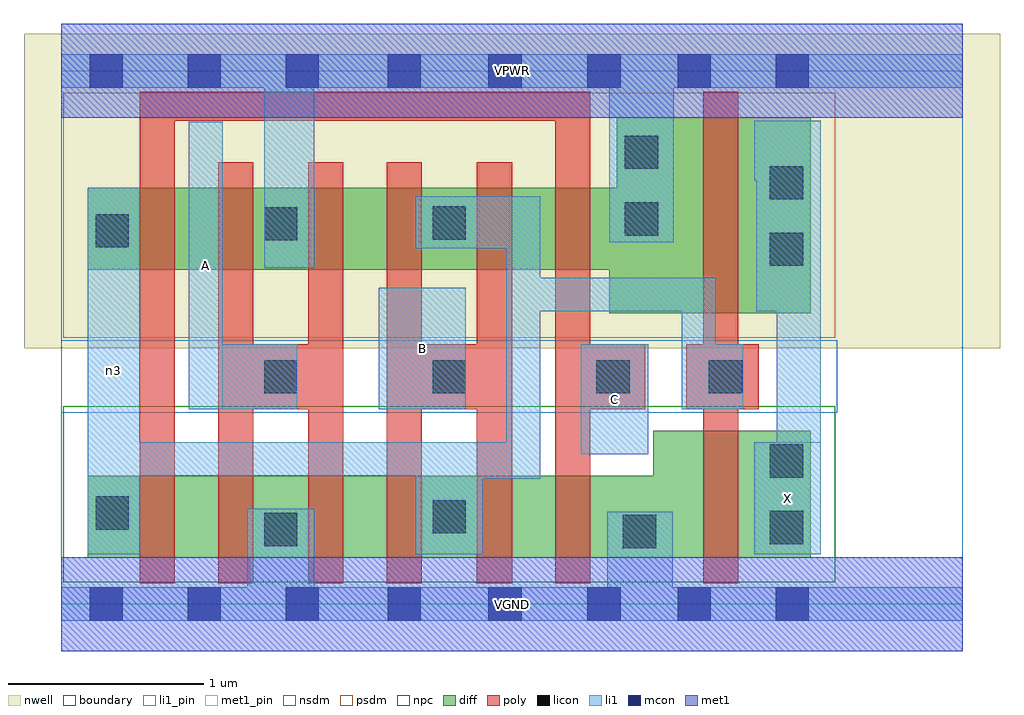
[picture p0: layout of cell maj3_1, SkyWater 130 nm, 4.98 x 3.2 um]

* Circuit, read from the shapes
.subckt maj3_1 A B C VGND VPWR X n3
XM1 n1 C n3 VSUBS sky130_fd_pr__nfet_01v8 w=0.42 l=0.18
XM2 VGND A n1 VSUBS sky130_fd_pr__nfet_01v8 w=0.42 l=0.18
XM3 n2 A VGND VSUBS sky130_fd_pr__nfet_01v8 w=0.42 l=0.18
XM4 n3 B n2 VSUBS sky130_fd_pr__nfet_01v8 w=0.42 l=0.18
XM5 n4 B n3 VSUBS sky130_fd_pr__nfet_01v8 w=0.42 l=0.18
XM6 VGND C n4 VSUBS sky130_fd_pr__nfet_01v8 w=0.42 l=0.18
XM7 X n3 VGND VSUBS sky130_fd_pr__nfet_01v8 w=0.65 l=0.18
XM8 n5 C n3 n6 sky130_fd_pr__pfet_01v8 w=0.42 l=0.18
XM9 VPWR A n5 n6 sky130_fd_pr__pfet_01v8 w=0.42 l=0.18
XM10 n7 A VPWR n6 sky130_fd_pr__pfet_01v8 w=0.42 l=0.18
XM11 n3 B n7 n6 sky130_fd_pr__pfet_01v8 w=0.42 l=0.18
XM12 n8 B n3 n6 sky130_fd_pr__pfet_01v8 w=0.42 l=0.18
XM13 VPWR C n8 n6 sky130_fd_pr__pfet_01v8 w=0.42 l=0.18
XM14 X n3 VPWR n6 sky130_fd_pr__pfet_01v8 w=1 l=0.18
.ends

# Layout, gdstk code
import gdstk
lib = gdstk.Library(unit=1e-6, precision=1e-09)
def R(c, l, rs):  # rectangles x0, y0, x1, y1
    for r in rs: c.add(gdstk.rectangle(r[:2], r[2:], *l))
def A(c, l, x, y, w, h, nx, ny, dx, dy):  # array of equal rectangles
    R(c, l, [(x+i*dx, y+j*dy, x+i*dx+w, y+j*dy+h) for i in range(nx) for j in range(ny)])
nwell = (64, 20)
diff = (65, 20)
poly = (66, 20)
licon = (66, 44)
li1_pin = (67, 16)
li1 = (67, 20)
mcon = (67, 44)
met1_pin = (68, 16)
met1 = (68, 20)
nsdm = (93, 44)
psdm = (94, 20)
npc = (95, 20)
boundary = (235, 4)

maj3_1 = lib.new_cell('maj3_1')
R(maj3_1, nwell, [(-0.19,1.305,4.79,2.91), (0,1.305,4.6,2.91)])
R(maj3_1, diff, [(0.135,0.235,3.825,0.655), (3.02,0.235,3.825,0.885), (2.795,1.485,3.825,2.125), (2.835,1.485,3.825,2.485), (0.135,1.705,3.825,2.125)])
R(maj3_1, poly, [(0.4,0.105,0.58,2.615), (0.8,0.105,0.98,2.255), (1.26,0.105,1.44,2.255), (1.66,0.105,1.84,2.255), (2.12,0.105,2.3,2.255), (2.52,0.105,2.7,2.615), (3.275,0.105,3.455,2.615), (0.8,0.995,1.44,1.325), (1.66,0.995,2.3,1.325), (2.52,0.995,2.98,1.325), (3.19,0.995,3.56,1.325), (0.4,2.465,2.7,2.615)])
A(maj3_1, licon, 1.035, 0.295, 0.17, 0.17, 1, 3, 0, 0.78)
R(maj3_1, licon, [(2.865,0.285,3.035,0.455), (3.615,0.305,3.785,0.475), (1.895,0.36,2.065,0.53), (0.175,0.38,0.345,0.55), (3.615,0.645,3.785,0.815), (1.895,1.075,2.065,1.245), (2.73,1.075,2.9,1.245), (3.305,1.075,3.475,1.245), (3.615,1.725,3.785,1.895), (0.175,1.82,0.345,1.99), (1.895,1.86,2.065,2.03), (2.875,1.88,3.045,2.05), (3.615,2.065,3.785,2.235), (2.875,2.22,3.045,2.39)])
R(maj3_1, li1_pin, [(3.535,0.255,3.875,0.825), (2.65,0.765,2.995,1.325), (0.65,0.995,0.825,2.46), (1.62,0.995,2.065,1.615)])
R(maj3_1, li1, [(0,-0.085,4.6,0.085), (0.95,-0.085,1.29,0.485), (2.785,-0.085,3.12,0.47), (0.135,0.255,0.4,2.125), (1.81,0.255,2.15,0.825), (3.535,0.255,3.875,0.825), (3.65,0.255,3.875,2.465), (1.81,0.64,2.445,0.825), (2.27,0.64,2.445,2.08), (0.135,0.655,2.445,0.825), (2.65,0.765,2.995,1.325), (0.65,0.995,0.825,2.46), (0.65,0.995,1.205,1.325), (1.62,0.995,2.065,1.615), (3.165,0.995,3.48,1.325), (3.165,0.995,3.34,1.665), (2.27,1.495,3.34,1.665), (3.545,1.495,3.875,2.465), (1.035,1.715,1.29,2.805), (1.81,1.815,2.445,2.08), (2.795,1.845,3.125,2.805), (3.535,2.16,3.875,2.465), (0,2.635,4.6,2.805)])
A(maj3_1, mcon, 0.145, -0.085, 0.17, 0.17, 3, 2, 0.5, 2.72)
R(maj3_1, mcon, [(1.665,-0.085,1.835,0.085), (2.18,-0.085,2.35,0.085), (2.685,-0.085,2.855,0.085), (3.145,-0.085,3.315,0.085), (3.645,-0.085,3.815,0.085), (1.665,2.635,1.835,2.805), (2.18,2.635,2.35,2.805), (2.685,2.635,2.855,2.805), (3.145,2.635,3.315,2.805), (3.645,2.635,3.815,2.805)])
R(maj3_1, met1_pin, [(0,-0.24,4.6,0.24), (0,2.48,4.6,2.96)])
R(maj3_1, met1, [(0,-0.24,4.6,0.24), (0,2.48,4.6,2.96)])
R(maj3_1, nsdm, [(0.01,0.11,3.95,1.01)])
R(maj3_1, psdm, [(0.01,1.36,3.95,2.61)])
R(maj3_1, npc, [(0,0.975,3.96,1.345)])
R(maj3_1, boundary, [(0,0,4.6,2.72)])
maj3_1.add(gdstk.Label('A', (0.737,1.727), layer=67, texttype=5))
maj3_1.add(gdstk.Label('B', (1.842,1.305), layer=67, texttype=5))
maj3_1.add(gdstk.Label('C', (2.822,1.045), layer=67, texttype=5))
maj3_1.add(gdstk.Label('X', (3.705,0.54), layer=67, texttype=5))
maj3_1.add(gdstk.Label('n3', (0.267,1.19), layer=67, texttype=5))
maj3_1.add(gdstk.Label('VPWR', (2.3,2.72), layer=68, texttype=5))
maj3_1.add(gdstk.Label('VGND', (2.3,0), layer=68, texttype=5))
maj3_1.add(gdstk.Label('A', (0.737,1.727), layer=67, texttype=16))
maj3_1.add(gdstk.Label('B', (1.842,1.305), layer=67, texttype=16))
maj3_1.add(gdstk.Label('C', (2.822,1.045), layer=67, texttype=16))
maj3_1.add(gdstk.Label('X', (3.705,0.54), layer=67, texttype=16))
maj3_1.add(gdstk.Label('VPWR', (2.3,2.72), layer=68, texttype=16))
maj3_1.add(gdstk.Label('VGND', (2.3,0), layer=68, texttype=16))

lib.write_gds('maj3_1.gds')
